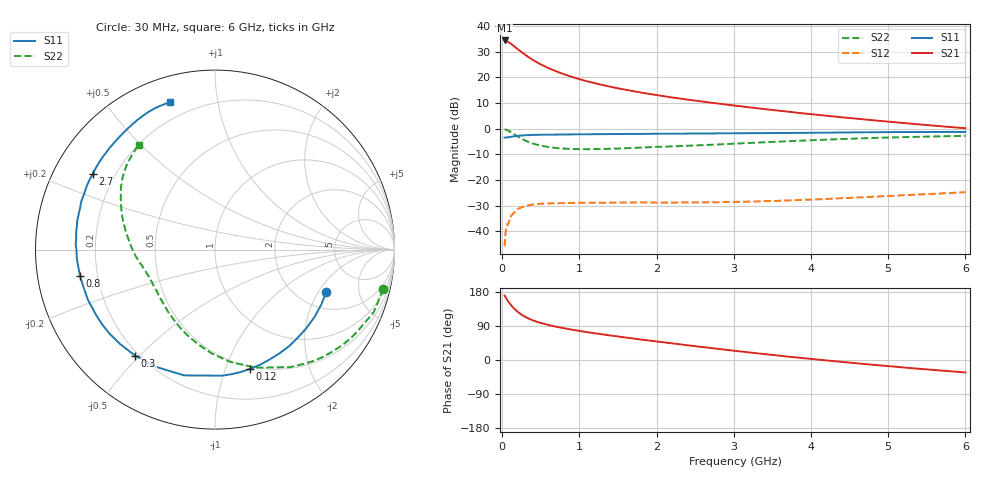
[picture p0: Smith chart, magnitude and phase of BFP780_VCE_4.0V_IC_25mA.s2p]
! Infineon Technologies  Discrete & RF Semiconductors
! BFP780
! VCE =  4.0 V,  IC =  25 mA
! Common Emitter S-Parameters:  Jul 2015
# GHz  S  MA  R  50
!  f  S11  S21  S12  S22
! GHz  MAG  ANG  MAG  ANG  MAG  ANG  MAG  ANG
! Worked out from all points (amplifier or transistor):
!   75 points, 30 MHz to 6 GHz, reference 50 ohm
!   highest |S21| = 34.3 dB at 30 MHz (marker M1)
!   |S21| within 3 dB of that: start of sweep to 184.7 MHz
!   unconditionally stable (mu >= 1): 2.205 GHz to end of sweep
!   at 150 MHz: K = 0.10, MSG = 32.6 dB, |S12| = -33.0 dB
!   at 2.3 GHz: K = 1.02, MAG = 19.3 dB, |S12| = -28.8 dB
!   at 6 GHz: K = 1.30, MAG = 9.2 dB, |S12| = -24.8 dB
!   S11 on the Smith chart (normalised r, x): 30 MHz: 2.78, -2.36; 120 MHz: 0.48, -1.22; 300 MHz: 0.19, -0.48; 800 MHz: 0.13, -0.10; 2.7 GHz: 0.12, +0.28; 6 GHz: 0.12, +0.73
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0.03  0.6636 -21.0  52 169.8  0.0051 76.1  0.9624 -13.2
0.05  0.6697 -34.1  50.8 163.0  0.0116 75.5  0.9508 -21.5
0.07  0.6736 -46.9  49.21 156.8  0.014 63.9  0.9159 -29.7
0.09  0.6807 -58.3  47.22 151.0  0.0159 60.1  0.8847 -37.4
0.12  0.6927 -73.6  43.9 143.2  0.0204 54.7  0.8303 -48.1
0.15  0.7035 -86.7  40.56 136.4  0.0225 48.9  0.777 -57.4
0.2  0.7217 -103.8  35.27 127.0  0.027 41.4  0.6962 -70.9
0.25  0.7316 -116.9  30.86 119.5  0.0292 35.4  0.6328 -82.0
0.3  0.7398 -127.0  27.11 113.5  0.0309 30.9  0.58 -91.6
0.35  0.7458 -135.1  24.06 108.5  0.0323 27.8  0.5383 -99.5
0.4  0.7514 -141.4  21.57 104.4  0.0331 24.5  0.5078 -106.4
0.5  0.7561 -151.2  17.75 97.7  0.0342 19.8  0.4632 -117.6
0.6  0.7611 -158.4  15.01 92.3  0.0347 17.6  0.4356 -126.5
0.8  0.7662 -168.8  11.41 83.8  0.0351 14.2  0.4068 -139.4
1.1  0.7715 -179.4  8.317 73.5  0.0358 11.1  0.395 -152.5
1.5  0.7799 170.6  6.072 62.1  0.0361 9.8  0.4068 -163.8
2.1  0.792 158.7  4.246 46.4  0.036 9.0  0.4432 -175.3
2.7  0.801 148.3  3.193 31.7  0.0366 10.7  0.4819 174.0
3.1  0.8092 141.8  2.695 22.3  0.0374 12.5  0.5146 166.9
4.1  0.8288 127.2  1.84 0.8  0.0418 15.9  0.5989 151.3
5.1  0.8526 115.5  1.32 -17.9  0.0492 16.1  0.6731 137.9
6  0.8585 107.1  1.014 -32.9  0.0575 13.3  0.7203 126.2
